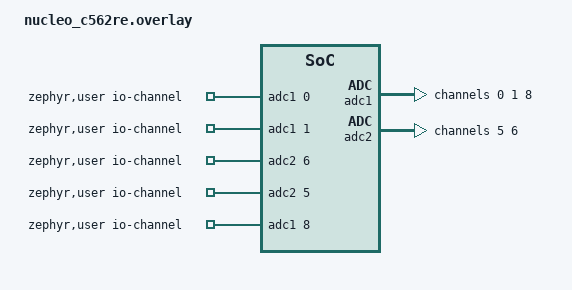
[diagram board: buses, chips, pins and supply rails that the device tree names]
/*
 * SPDX-License-Identifier: Apache-2.0
 * SPDX-FileCopyrightText: Copyright (c) 2026 TOKITA Hiroshi
 */

/ {
	zephyr,user {
		/* adjust channel number according to pinmux in board.dts */
		io-channels = <&adc1 0>, <&adc1 1>, <&adc2 6>, <&adc2 5>, <&adc1 8>;
	};
};

&adc1 {
	#address-cells = <1>;
	#size-cells = <0>;

	channel@0 {
		reg = <0>;
		zephyr,gain = "ADC_GAIN_1";
		zephyr,reference = "ADC_REF_INTERNAL";
		zephyr,acquisition-time = <ADC_ACQ_TIME_DEFAULT>;
		zephyr,resolution = <12>;
	};

	channel@1 {
		reg = <1>;
		zephyr,gain = "ADC_GAIN_1";
		zephyr,reference = "ADC_REF_INTERNAL";
		zephyr,acquisition-time = <ADC_ACQ_TIME_DEFAULT>;
		zephyr,resolution = <12>;
	};

	channel@8 {
		reg = <8>;
		zephyr,gain = "ADC_GAIN_1";
		zephyr,reference = "ADC_REF_INTERNAL";
		zephyr,acquisition-time = <ADC_ACQ_TIME_DEFAULT>;
		zephyr,resolution = <12>;
	};
};

&adc2 {
	#address-cells = <1>;
	#size-cells = <0>;

	channel@5 {
		reg = <5>;
		zephyr,gain = "ADC_GAIN_1";
		zephyr,reference = "ADC_REF_INTERNAL";
		zephyr,acquisition-time = <ADC_ACQ_TIME_DEFAULT>;
		zephyr,resolution = <12>;
	};

	channel@6 {
		reg = <6>;
		zephyr,gain = "ADC_GAIN_1";
		zephyr,reference = "ADC_REF_INTERNAL";
		zephyr,acquisition-time = <ADC_ACQ_TIME_DEFAULT>;
		zephyr,resolution = <12>;
	};
};
